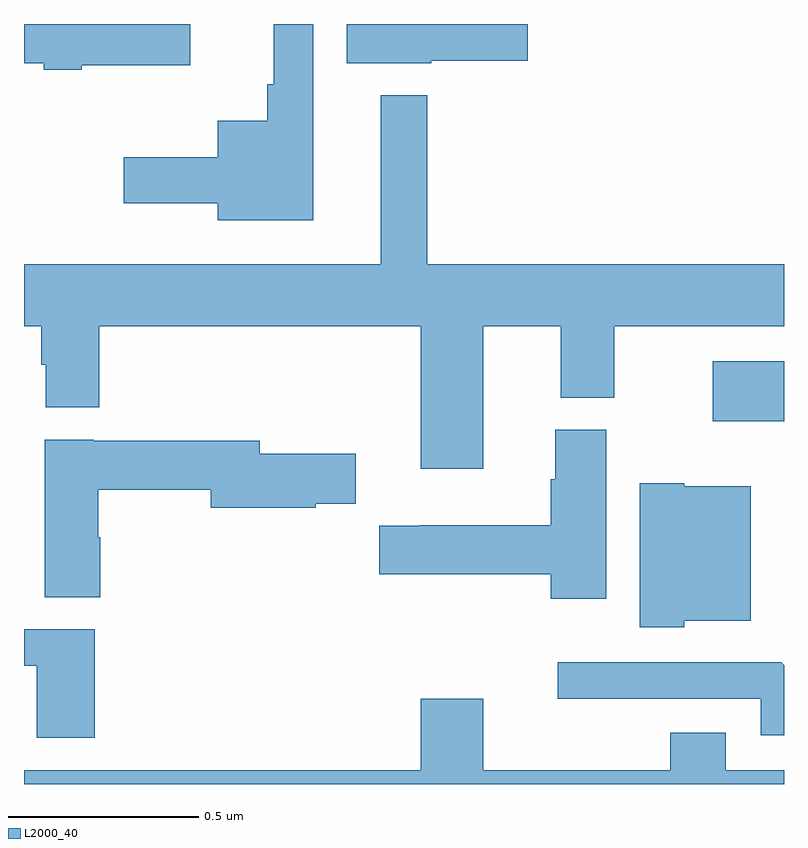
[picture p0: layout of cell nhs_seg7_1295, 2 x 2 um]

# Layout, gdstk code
import gdstk
lib = gdstk.Library(unit=1e-6, precision=1e-09)
def R(c, l, rs):  # rectangles x0, y0, x1, y1
    for r in rs: c.add(gdstk.rectangle(r[:2], r[2:], *l))
def P(c, l, *ps):  # polygons
    for p in ps: c.add(gdstk.Polygon(p, *l))
L2000_40 = (2000, 40)

nhs_seg7_1295 = lib.new_cell('nhs_seg7_1295')
R(nhs_seg7_1295, L2000_40, [(129.813,1078.955,130,1079.113)])
P(nhs_seg7_1295, L2000_40, [(128.152,1079.891),(128.437,1079.891),(128.437,1080),(128,1080),(128,1079.897),(128.052,1079.897),(128.052,1079.879),(128.152,1079.879)],
  [(129.072,1079.903),(129.325,1079.903),(129.325,1080),(128.849,1080),(128.849,1079.897),(129.072,1079.897)],
  [(128.761,1080),(128.657,1080),(128.657,1079.842),(128.64,1079.842),(128.64,1079.746),(128.51,1079.746),(128.51,1079.65),(128.262,1079.65),(128.262,1079.528),(128.51,1079.528),(128.51,1079.483),(128.761,1079.483)],
  [(129.208,1079.204),(129.413,1079.204),(129.413,1079.017),(129.553,1079.017),(129.553,1079.204),(130,1079.204),(130,1079.368),(129.061,1079.368),(129.061,1079.812),(128.939,1079.812),(128.939,1079.368),(128,1079.368),(128,1079.204),(128.045,1079.204),(128.045,1079.103),(128.057,1079.103),(128.057,1078.991),(128.198,1078.991),(128.198,1079.204),(129.044,1079.204),(129.044,1078.83),(129.208,1078.83)],
  [(129.532,1078.932),(129.398,1078.932),(129.398,1078.802),(129.386,1078.802),(129.386,1078.681),(129.04,1078.681),(129.04,1078.679),(128.935,1078.679),(128.935,1078.552),(129.386,1078.552),(129.386,1078.488),(129.532,1078.488)],
  [(128.201,1078.649),(128.196,1078.649),(128.196,1078.774),(128.492,1078.774),(128.492,1078.727),(128.768,1078.727),(128.768,1078.737),(128.873,1078.737),(128.873,1078.869),(128.62,1078.869),(128.62,1078.903),(128.184,1078.903),(128.184,1078.906),(128.054,1078.906),(128.054,1078.492),(128.201,1078.492)],
  [(129.738,1078.43),(129.913,1078.43),(129.913,1078.783),(129.738,1078.783),(129.738,1078.792),(129.62,1078.792),(129.62,1078.412),(129.738,1078.412)],
  [(128.186,1078.407),(128,1078.407),(128,1078.311),(128.033,1078.311),(128.033,1078.122),(128.186,1078.122)],
  [(130,1078.313),(129.993,1078.32),(129.405,1078.32),(129.405,1078.224),(129.939,1078.224),(129.939,1078.128),(130,1078.128)],
  [(130,1078.036),(129.847,1078.036),(129.847,1078.135),(129.7,1078.135),(129.7,1078.036),(129.208,1078.036),(129.208,1078.225),(129.044,1078.225),(129.044,1078.036),(128,1078.036),(128,1078),(130,1078)])

lib.write_gds('nhs_seg7_1295.gds')
